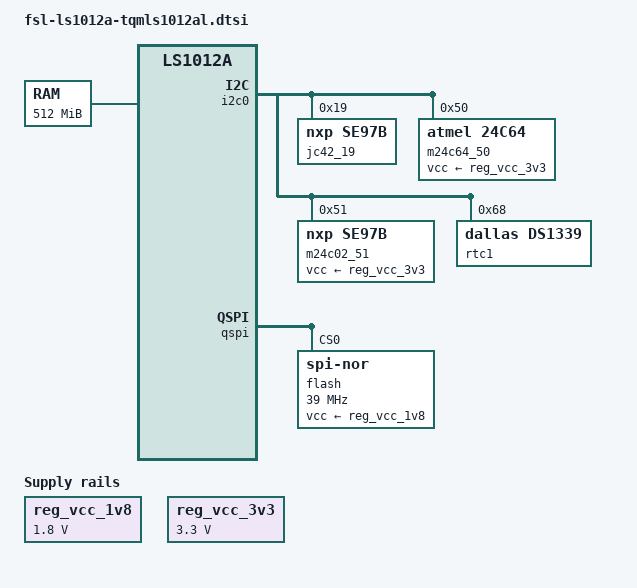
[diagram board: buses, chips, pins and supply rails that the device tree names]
// SPDX-License-Identifier: (GPL-2.0-or-later OR MIT)
/*
 * Copyright (c) 2018-2025 TQ-Systems GmbH <linux@ew.tq-group.com>,
 * D-82229 Seefeld, Germany.
 * Author: Matthias Schiffer
 * Author: Max Merchel
 */

#include "fsl-ls1012a.dtsi"

/ {
	compatible = "tq,ls1012a-tqmls1012al", "fsl,ls1012a";

	memory@80000000 {
		device_type = "memory";
		/*  our minimum RAM config will be 512 MiB */
		reg = <0x00000000 0x80000000 0 0x20000000>;
	};

	reg_vcc_1v8: regulator-1v8 {
		compatible = "regulator-fixed";
		regulator-name = "VCC_1V8";
		regulator-min-microvolt = <1800000>;
		regulator-max-microvolt = <1800000>;
	};

	reg_vcc_3v3: regulator-3v3 {
		compatible = "regulator-fixed";
		regulator-name = "VCC_3V3";
		regulator-min-microvolt = <3300000>;
		regulator-max-microvolt = <3300000>;
	};
};

&i2c0 {
	status = "okay";

	jc42_19: temperature-sensor@19 {
		compatible = "nxp,se97b", "jedec,jc-42.4-temp";
		reg = <0x19>;
	};

	m24c64_50: eeprom@50 {
		compatible = "atmel,24c64";
		reg = <0x50>;
		pagesize = <32>;
		vcc-supply = <&reg_vcc_3v3>;
	};

	m24c02_51: eeprom@51 {
		compatible = "nxp,se97b", "atmel,24c02";
		reg = <0x51>;
		pagesize = <16>;
		read-only;
		vcc-supply = <&reg_vcc_3v3>;
	};

	rtc1: rtc@68 {
		compatible = "dallas,ds1339";
		reg = <0x68>;
	};
};

&qspi {
	status = "okay";

	flash@0 {
		compatible = "jedec,spi-nor";
		reg = <0>;
		spi-max-frequency = <39000000>;
		spi-rx-bus-width = <4>;
		spi-tx-bus-width = <1>;
		vcc-supply = <&reg_vcc_1v8>;

		partitions {
			compatible = "fixed-partitions";
			#address-cells = <1>;
			#size-cells = <1>;
		};
	};
};
